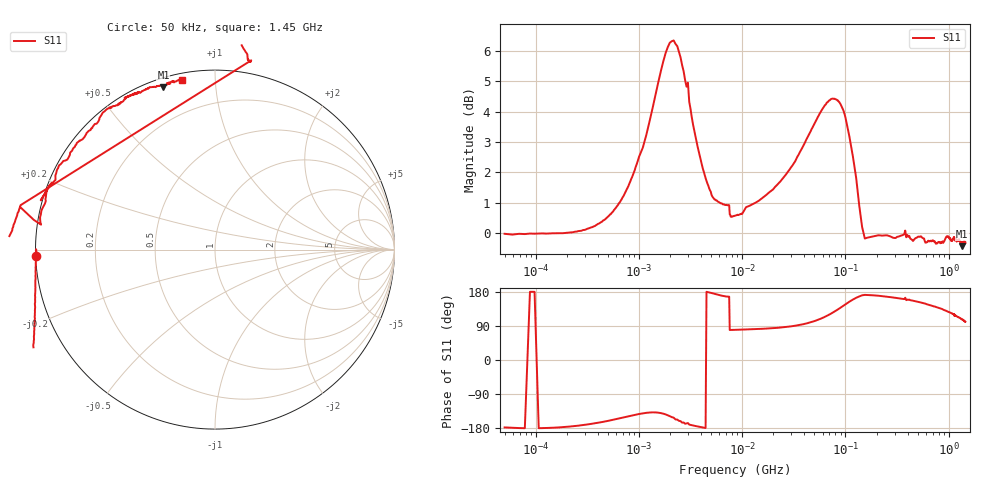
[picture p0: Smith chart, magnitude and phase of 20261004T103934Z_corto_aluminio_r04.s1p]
! piloto_corto / corto_aluminio / r04
# HZ S RI R 50
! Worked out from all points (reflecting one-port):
!   501 points, 50 kHz to 1.45 GHz, reference 50 ohm
!   lowest |S11| = -0.4 dB at 1.347 GHz (marker M1), VSWR 39.70, Z = 1.93 + j36.6 ohm
!   phase of S11 starts at -178 deg and turns -81 deg over the sweep
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50000  -0.9959 -0.0367
183000  -0.9977 -0.0494
363500  -1.001 -0.2196
658000  -1.008 -0.5005
1180000  -1.103 -0.945
1630000  -1.419 -1.185
1990000  -1.751 -1.085
2440000  -1.874 -0.6645
3430000  -1.467 -0.1681
4960000  -1.168 0.0542
7300000  -1.083 0.2478
7750000  0.1976 1.045
8560000  0.191 1.05
1.9e7  0.1303 1.165
3.16e7  0.0035 1.303
4.69e7  -0.2614 1.459
6.76e7  -0.7714 1.453
8.02e7  -1.058 1.282
9.46e7  -1.268 0.974
9.82e7  -1.293 0.8887
1e8  -1.299 0.8462
1.18e8  -1.252 0.4689
1.36e8  -1.084 0.2353
1.63e8  -0.9714 0.1443
4.06e8  -0.9194 0.3552
9.37e8  -0.6325 0.7503
1.3465e9  -0.2872 0.9064
1.45e9  -0.1846 0.9441
